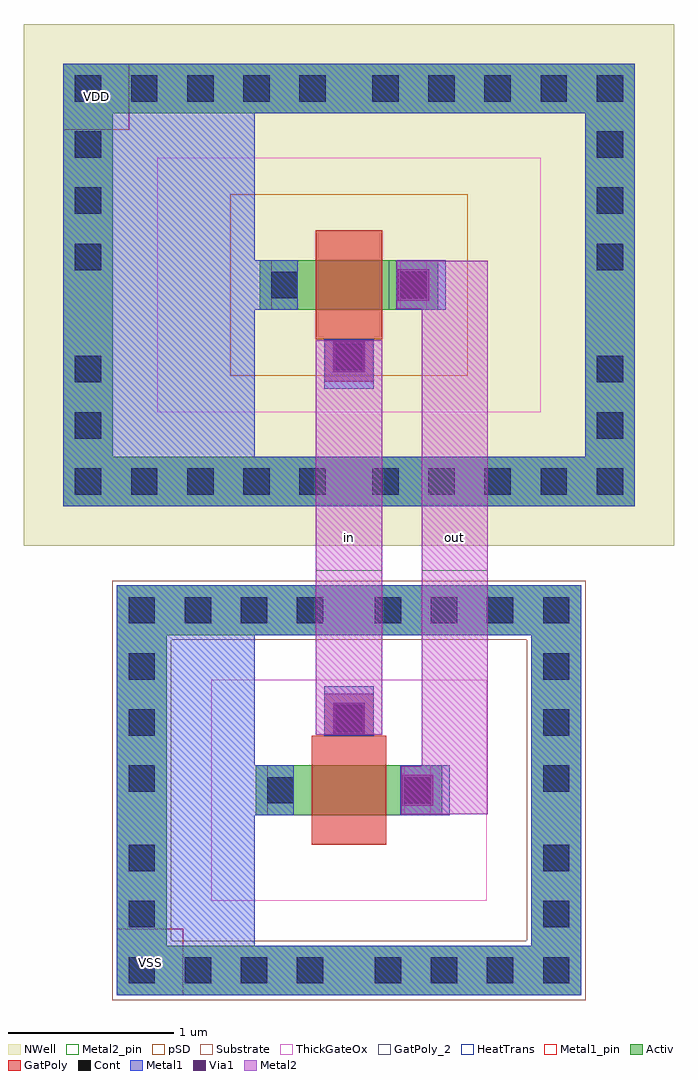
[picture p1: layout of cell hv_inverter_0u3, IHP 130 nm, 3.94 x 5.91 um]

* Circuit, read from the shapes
.subckt hv_inverter_0u3 VDD VSS in out
XM1 out in VSS VSS sg13_hv_nmos w=0.3u l=0.45u
XM2 out in VDD VDD sg13_hv_pmos w=0.3u l=0.4u
.ends

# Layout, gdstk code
from math import pi, radians
import gdstk
lib = gdstk.Library(unit=1e-6, precision=1e-09)
def R(c, l, rs):  # rectangles x0, y0, x1, y1
    for r in rs: c.add(gdstk.rectangle(r[:2], r[2:], *l))
def A(c, l, x, y, w, h, nx, ny, dx, dy):  # array of equal rectangles
    R(c, l, [(x+i*dx, y+j*dy, x+i*dx+w, y+j*dy+h) for i in range(nx) for j in range(ny)])
def P(c, l, *ps):  # polygons
    for p in ps: c.add(gdstk.Polygon(p, *l))
Activ = (1, 0)
GatPoly = (5, 0)
GatPoly_2 = (5, 2)
Cont = (6, 0)
Metal1 = (8, 0)
Metal1_pin = (8, 2)
Metal2 = (10, 0)
Metal2_pin = (10, 2)
pSD = (14, 0)
Via1 = (19, 0)
NWell = (31, 0)
Substrate = (40, 0)
ThickGateOx = (44, 0)
HeatTrans = (51, 0)

pmoshv_4 = lib.new_cell('pmosHV$4')
R(pmoshv_4, Activ, [(-1.19,-0.89,-0.89,1.19), (1.97,-0.89,2.27,1.19), (0,0,0.3,0.3), (0,0,1.08,0.3), (0.78,0,1.08,0.3), (-1.19,1.19,2.27,1.49)])
P(pmoshv_4, Activ, [(-1.19,-1.19),(-1.19,1.19),(-0.89,1.19),(-0.89,-0.89),(1.97,-0.89),(1.97,1.19),(-1.19,1.19),(-1.19,1.49),(2.27,1.49),(2.27,-1.19)])
R(pmoshv_4, GatPoly, [(0.34,-0.18,0.74,0.48)])
R(pmoshv_4, GatPoly_2, [(0.34,-0.18,0.74,0.48)])
A(pmoshv_4, Cont, -1.12, -1.12, 0.16, 0.16, 5, 2, 0.34, 2.38)
A(pmoshv_4, Cont, 0.68, -1.12, 0.16, 0.16, 5, 2, 0.34, 2.38)
A(pmoshv_4, Cont, -1.12, 0.24, 0.16, 0.16, 1, 3, 0, 0.34)
A(pmoshv_4, Cont, 2.04, 0.24, 0.16, 0.16, 1, 3, 0, 0.34)
R(pmoshv_4, Cont, [(-1.12,-0.78,-0.96,-0.62), (2.04,-0.78,2.2,-0.62), (-1.12,-0.44,-0.96,-0.28), (2.04,-0.44,2.2,-0.28), (0.07,0.07,0.23,0.23), (0.85,0.07,1.01,0.23)])
R(pmoshv_4, Metal1, [(-1.19,-1.19,2.27,-0.89), (-1.19,-0.89,-0.89,1.19), (1.97,-0.89,2.27,1.19), (0.07,0,0.23,0.3), (0.85,0,1.01,0.3), (-1.19,1.19,2.27,1.49)])
R(pmoshv_4, Metal1_pin, [(0.07,0,0.23,0.3), (0.85,0,1.01,0.3)])
R(pmoshv_4, pSD, [(-0.18,-0.4,1.26,0.7)])
R(pmoshv_4, NWell, [(-1.43,-1.43,2.51,1.73), (-0.62,-0.62,1.7,0.92)])
R(pmoshv_4, Substrate, [(0.78,0,1.08,0.3)])
R(pmoshv_4, ThickGateOx, [(-0.62,-0.62,1.7,0.92)])
R(pmoshv_4, HeatTrans, [(0.34,-0.18,0.74,0.48)])
pmoshv_4.add(gdstk.Label('pmosHV', (0.54,0.15), layer=63, texttype=0))
pmoshv_4.add(gdstk.Label('well', (0.54,-1.04), layer=63, texttype=0))
pmoshv_4.add(gdstk.Label('pmos', (0.54,0.15), layer=51, texttype=0))

nmoshv_4 = lib.new_cell('nmosHV$4')
R(nmoshv_4, Activ, [(-0.84,-0.79,-0.54,1.09), (1.67,-0.79,1.97,1.09), (0,0,0.3,0.3), (0,0,1.13,0.3), (0.83,0,1.13,0.3), (-0.84,1.09,1.97,1.39)])
P(nmoshv_4, Activ, [(-0.84,-1.09),(-0.84,1.09),(-0.54,1.09),(-0.54,-0.79),(1.67,-0.79),(1.67,1.09),(-0.84,1.09),(-0.84,1.39),(1.97,1.39),(1.97,-1.09)])
R(nmoshv_4, GatPoly, [(0.34,-0.18,0.79,0.48)])
R(nmoshv_4, GatPoly_2, [(0.34,-0.18,0.79,0.48)])
A(nmoshv_4, Cont, -0.77, -1.02, 0.16, 0.16, 4, 2, 0.34, 2.18)
A(nmoshv_4, Cont, 0.72, -1.02, 0.16, 0.16, 4, 2, 0.34, 2.18)
A(nmoshv_4, Cont, -0.77, 0.14, 0.16, 0.16, 1, 3, 0, 0.34)
A(nmoshv_4, Cont, 1.74, 0.14, 0.16, 0.16, 1, 3, 0, 0.34)
R(nmoshv_4, Cont, [(-0.77,-0.68,-0.61,-0.52), (1.74,-0.68,1.9,-0.52), (-0.77,-0.34,-0.61,-0.18), (1.74,-0.34,1.9,-0.18), (0.07,0.07,0.23,0.23), (0.9,0.07,1.06,0.23)])
R(nmoshv_4, Metal1, [(-0.84,-1.09,1.97,-0.79), (-0.84,-0.79,-0.54,1.09), (1.67,-0.79,1.97,1.09), (0.07,0,0.23,0.3), (0.9,0,1.06,0.3), (-0.84,1.09,1.97,1.39)])
R(nmoshv_4, Metal1_pin, [(0.07,0,0.23,0.3), (0.9,0,1.06,0.3)])
R(nmoshv_4, pSD, [(-0.87,-0.76,-0.51,1.06), (1.64,-0.76,2,1.06), (-0.87,1.06,2,1.42)])
P(nmoshv_4, pSD, [(-0.87,-1.12),(-0.87,1.06),(-0.51,1.06),(-0.51,-0.76),(1.64,-0.76),(1.64,1.06),(-0.87,1.06),(-0.87,1.42),(2,1.42),(2,-1.12)])
R(nmoshv_4, Substrate, [(-0.87,-0.76,-0.51,1.06), (1.64,-0.76,2,1.06), (-0.87,1.06,2,1.42)])
P(nmoshv_4, Substrate, [(-0.87,-1.12),(-0.87,1.06),(-0.51,1.06),(-0.51,-0.76),(1.64,-0.76),(1.64,1.06),(-0.87,1.06),(-0.87,1.42),(2,1.42),(2,-1.12)])
R(nmoshv_4, ThickGateOx, [(-0.27,-0.52,1.4,0.82)])
R(nmoshv_4, HeatTrans, [(0.34,-0.18,0.79,0.48)])
nmoshv_4.add(gdstk.Label('nmosHV', (0.565,0.15), layer=63, texttype=0))
nmoshv_4.add(gdstk.Label('sub!', (0.565,-0.94), layer=63, texttype=0))
nmoshv_4.add(gdstk.Label('nmosHV', (0.565,0.15), layer=51, texttype=0))

via_stack_6 = lib.new_cell('via_stack$6')
R(via_stack_6, GatPoly, [(-0.15,-0.15,0.15,0.15)])
R(via_stack_6, Cont, [(-0.08,-0.08,0.08,0.08)])
R(via_stack_6, Metal1, [(-0.145,-0.105,0.145,0.105)])
R(via_stack_6, Metal2, [(-0.145,-0.1,0.145,0.1)])
R(via_stack_6, Via1, [(-0.095,-0.095,0.095,0.095)])

via_stack_12 = lib.new_cell('via_stack$12')
R(via_stack_12, Metal1, [(-0.145,-0.105,0.145,0.105)])
R(via_stack_12, Metal2, [(-0.145,-0.1,0.145,0.1)])
R(via_stack_12, Via1, [(-0.095,-0.095,0.095,0.095)])

hv_inverter_0u3 = lib.new_cell('hv_inverter_0u3')
R(hv_inverter_0u3, Metal1, [(-1.105,-2.47,-0.57,-0.59), (-0.57,-1.68,-0.495,-1.38), (0.31,-1.68,0.61,-1.38), (-0.15,-1.2,0.15,-0.9), (-1.43,0.49,-0.57,2.57), (-0.15,0.9,0.15,1.2), (-0.57,1.38,-0.47,1.68), (0.285,1.38,0.585,1.68)])
R(hv_inverter_0u3, Metal1_pin, [(-1.405,-2.77,-1.005,-2.37), (-1.73,2.47,-1.33,2.87)])
R(hv_inverter_0u3, Metal2_pin, [(-0.2,-0.2,0.2,0.2), (0.44,-0.2,0.84,0.2)])
hv_inverter_0u3.add(gdstk.FlexPath([(0.64,-1.675),(0.64,1.675)], 0.4, ends="flush", simple_path=True, layer=10, datatype=0))  # Metal2
hv_inverter_0u3.add(gdstk.FlexPath([(0,1.195),(0,-1.195)], 0.4, ends="flush", simple_path=True, layer=10, datatype=0))  # Metal2
hv_inverter_0u3.add(gdstk.Reference(pmoshv_4, (-0.54,1.38)))
hv_inverter_0u3.add(gdstk.Reference(nmoshv_4, (-0.565,-1.68)))
hv_inverter_0u3.add(gdstk.Reference(via_stack_6, (0,-1.095)))
hv_inverter_0u3.add(gdstk.Reference(via_stack_6, (0,1.095)))
hv_inverter_0u3.add(gdstk.Reference(via_stack_12, (0.415,-1.53), rotation=pi/2))
hv_inverter_0u3.add(gdstk.Reference(via_stack_12, (0.39,1.53), rotation=pi/2))
hv_inverter_0u3.add(gdstk.Label('VSS', (-1.205,-2.57), layer=8, texttype=25))
hv_inverter_0u3.add(gdstk.Label('VDD', (-1.53,2.67), layer=8, texttype=25))
hv_inverter_0u3.add(gdstk.Label('in', (0,0), layer=10, texttype=25))
hv_inverter_0u3.add(gdstk.Label('out', (0.64,0), layer=10, texttype=25))

lib.write_gds('hv_inverter_0u3.gds')
